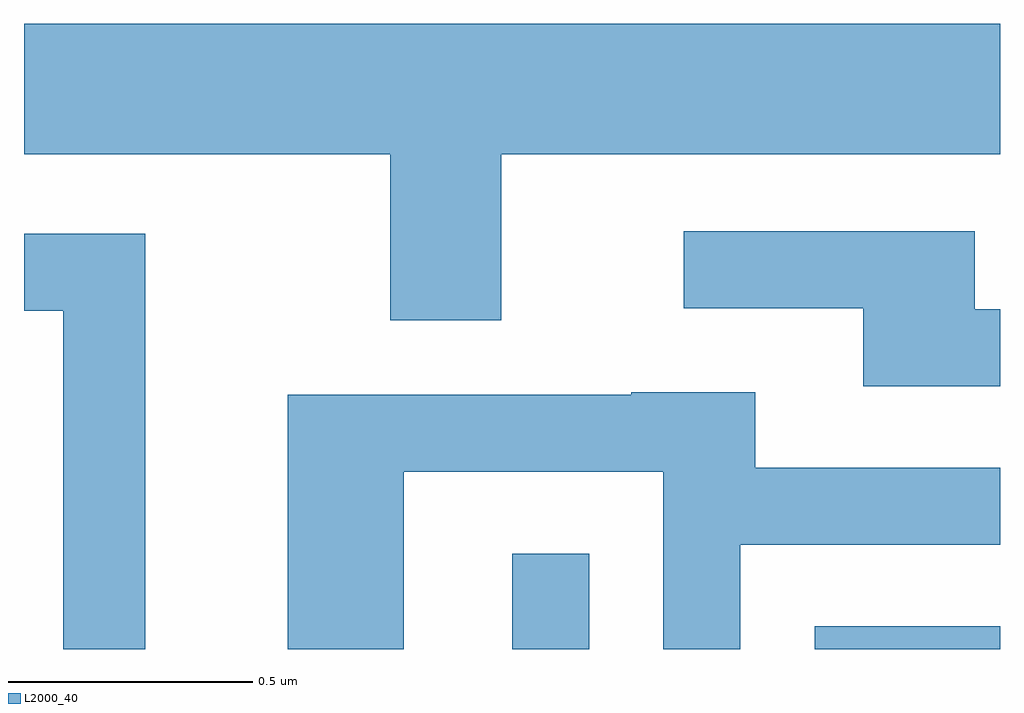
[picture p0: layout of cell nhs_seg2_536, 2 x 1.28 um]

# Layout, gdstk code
import gdstk
lib = gdstk.Library(unit=1e-6, precision=1e-09)
def R(c, l, rs):  # rectangles x0, y0, x1, y1
    for r in rs: c.add(gdstk.rectangle(r[:2], r[2:], *l))
def P(c, l, *ps):  # polygons
    for p in ps: c.add(gdstk.Polygon(p, *l))
L2000_40 = (2000, 40)

nhs_seg2_536 = lib.new_cell('nhs_seg2_536')
R(nhs_seg2_536, L2000_40, [(189.611,1102.802,189.769,1102.998), (190.231,1102.802,190.611,1102.849)])
P(nhs_seg2_536, L2000_40, [(189.589,1103.816),(190.611,1103.816),(190.611,1104.084),(188.611,1104.084),(188.611,1103.816),(189.361,1103.816),(189.361,1103.476),(189.589,1103.476)],
  [(190.611,1103.499),(190.559,1103.499),(190.559,1103.659),(189.963,1103.659),(189.963,1103.501),(190.331,1103.501),(190.331,1103.341),(190.611,1103.341)],
  [(188.859,1103.654),(188.611,1103.654),(188.611,1103.496),(188.691,1103.496),(188.691,1102.802),(188.859,1102.802)],
  [(189.389,1103.166),(189.921,1103.166),(189.921,1102.802),(190.079,1102.802),(190.079,1103.016),(190.611,1103.016),(190.611,1103.174),(190.109,1103.174),(190.109,1103.329),(189.855,1103.329),(189.855,1103.324),(189.151,1103.324),(189.151,1102.802),(189.389,1102.802)])

lib.write_gds('nhs_seg2_536.gds')
